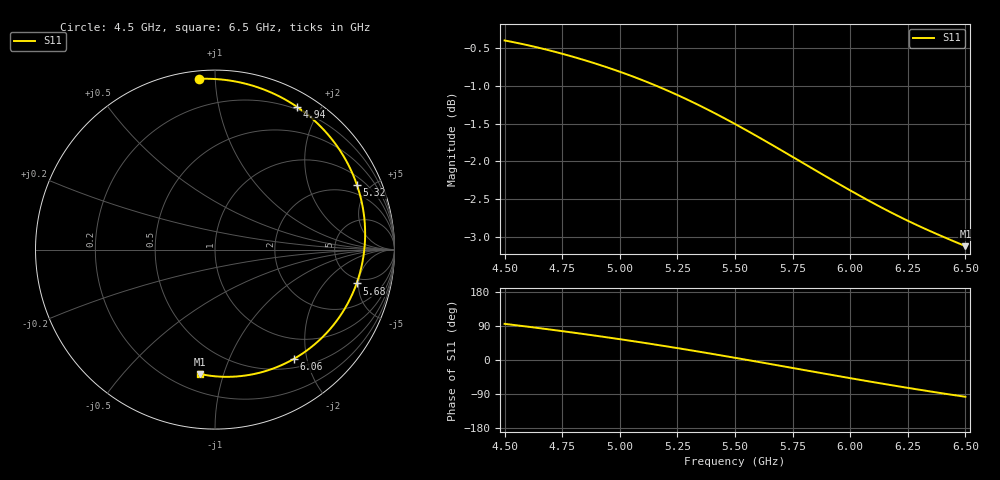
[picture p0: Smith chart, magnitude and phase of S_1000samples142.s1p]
! TOUCHSTONE file generated by CST MICROWAVE STUDIO
! Date and time: Thu Oct 27 03:39:09 2022
! Project name: L.cst
! Parameters = {Di=1.27; Epsilon_r=1.56; InnerDiameter=1.27; Length=2; Lf=10; Lg=60; OuterConductorThickness=0.2921; OuterDiameter=3.6; Wf=3; Wp=41.2; de=1.5; df=6.8; g=0.8; gx=3.67736; gy=4.25262; h=2.34; hf=1.524; px=11.908; py=9.90505; w=9.7; wx=8.23059; wy=5.65243}
! Header version: 2018
! Port assignment regex: !\s*Touchstone port\s*([0-9]+)\s*=\s*(CST MWS port|CST DS port)\s*([0-9]+|Zmin|Zmax)\s*\(\"(.*)\"\)(\s*mode\s*([0-9]+))?.*
! Touchstone port assignment:
! Touchstone port 1 = CST MWS port 1 ("")
# GHz S DB R 50
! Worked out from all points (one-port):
!   101 points, 4.5 GHz to 6.5 GHz, reference 50 ohm
!   lowest |S11| = -3.1 dB at 6.5 GHz (marker M1), VSWR 5.62, Z = 15.5 - j41.7 ohm
!   |S11| at or under -10 dB: nowhere
!   S11 on the Smith chart (normalised r, x): 4.5 GHz: 0.04, +0.91; 4.94 GHz: 0.17, +1.71; 5.32 GHz: 1.42, +4.17; 5.68 GHz: 4.26, -4.71; 6.06 GHz: 0.64, -1.78; 6.5 GHz: 0.31, -0.83
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4.5  -0.40 95.4
4.58  -0.45 89.4
4.64  -0.49 84.9
4.7  -0.53 80.2
4.76  -0.58 75.4
4.86  -0.67 67.1
4.94  -0.75 60.2
5  -0.81 54.9
5.06  -0.88 49.5
5.12  -0.95 43.9
5.2  -1.05 36.3
5.26  -1.13 30.4
5.32  -1.22 24.4
5.42  -1.38 14.2
5.5  -1.51 5.8
5.58  -1.64 -2.7
5.68  -1.82 -13.5
5.76  -1.96 -22.1
5.82  -2.07 -28.6
5.88  -2.18 -35.1
5.94  -2.28 -41.5
6  -2.39 -47.9
6.06  -2.49 -54.2
6.16  -2.65 -64.5
6.26  -2.80 -74.5
6.32  -2.89 -80.3
6.38  -2.97 -86.0
6.5  -3.13 -97.1
